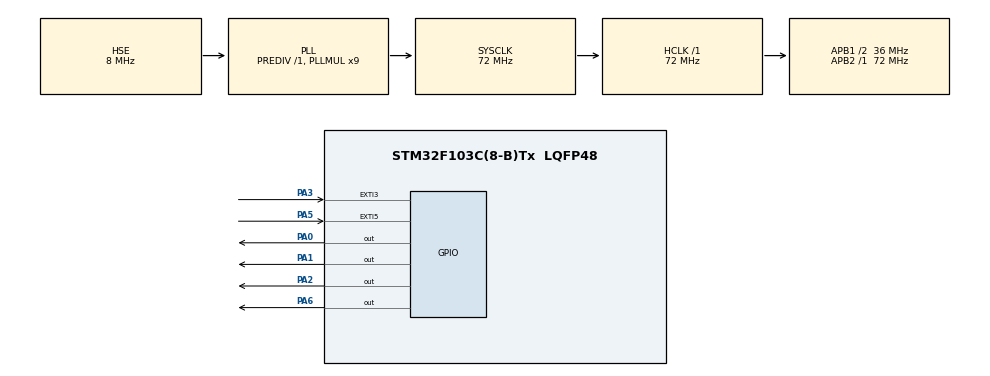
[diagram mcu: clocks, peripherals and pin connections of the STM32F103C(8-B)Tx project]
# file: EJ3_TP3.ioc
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Mcu.Family=STM32F1
Mcu.Name=STM32F103C(8-B)Tx
Mcu.Package=LQFP48
NVIC.EXTI3_IRQn=true\:0\:0\:false\:false\:true\:true\:true\:true
NVIC.EXTI9_5_IRQn=true\:0\:0\:false\:false\:true\:true\:true\:true
NVIC.PriorityGroup=NVIC_PRIORITYGROUP_4
NVIC.TIM1_UP_IRQn=true\:0\:0\:false\:false\:true\:true\:true\:true
PA0-WKUP.Signal=GPIO_Output
PA1.Signal=GPIO_Output
PA13.Mode=Serial_Wire
PA13.Signal=SYS_JTMS-SWDIO
PA14.Mode=Serial_Wire
PA14.Signal=SYS_JTCK-SWCLK
PA2.Signal=GPIO_Output
PA3.GPIO_ModeDefaultEXTI=GPIO_MODE_IT_FALLING
PA3.GPIO_PuPd=GPIO_PULLUP
PA3.Signal=GPXTI3
PA5.GPIO_ModeDefaultEXTI=GPIO_MODE_IT_FALLING
PA5.GPIO_PuPd=GPIO_PULLUP
PA5.Signal=GPXTI5
PA6.Signal=GPIO_Output
PD0-OSC_IN.Mode=HSE-External-Oscillator
PD0-OSC_IN.Signal=RCC_OSC_IN
PD1-OSC_OUT.Mode=HSE-External-Oscillator
PD1-OSC_OUT.Signal=RCC_OSC_OUT
ProjectManager.HeapSize=0x200
ProjectManager.StackSize=0x400
ProjectManager.TargetToolchain=STM32CubeIDE
RCC.AHBFreq_Value=72000000
RCC.APB1CLKDivider=RCC_HCLK_DIV2
RCC.APB1Freq_Value=36000000
RCC.APB1TimFreq_Value=72000000
RCC.APB2Freq_Value=72000000
RCC.APB2TimFreq_Value=72000000
RCC.HCLKFreq_Value=72000000
RCC.PLLMUL=RCC_PLL_MUL9
RCC.PLLSourceVirtual=RCC_PLLSOURCE_HSE
RCC.SYSCLKFreq_VALUE=72000000
RCC.SYSCLKSource=RCC_SYSCLKSOURCE_PLLCLK
RCC.USBFreq_Value=72000000
TIM1.Period=999
TIM1.Prescaler=7199
VP_TIM1_VS_ClockSourceINT.Mode=Internal
board=custom

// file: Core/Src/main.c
/* USER CODE BEGIN Header */
/**
  ******************************************************************************
  * @file           : main.c
  * @brief          : Main program body
  ******************************************************************************
  * @attention
  *
  * Copyright (c) 2026 STMicroelectronics.
  * All rights reserved.
  *
  * This software is licensed under terms that can be found in the LICENSE file
  * in the root directory of this software component.
  * If no LICENSE file comes with this software, it is provided AS-IS.
  *
  ******************************************************************************
  */
/* USER CODE END Header */
#include "main.h"

/* USER CODE BEGIN Includes */
#include "maquina.h"
/* USER CODE END Includes */

TIM_HandleTypeDef htim1;

void SystemClock_Config(void);
static void MX_GPIO_Init(void);
static void MX_TIM1_Init(void);

/* USER CODE BEGIN 0 */

uint8_t contador = 0;
volatile uint8_t flag_stop = 0;
volatile uint8_t flag_rotar = 0;
volatile uint8_t flag_comprar = 0;

uint32_t tick_anterior_3 = 0;
uint32_t tick_anterior_5 = 0;
uint32_t rebote = 150;

void HAL_TIM_PeriodElapsedCallback(TIM_HandleTypeDef *htim){
	if (htim->Instance == TIM1){
		if (contador < 40){
			switch(indice){
				case 1:
					HAL_GPIO_TogglePin(GPIOA, GPIO_PIN_0);
					break;
				case 2:
					HAL_GPIO_TogglePin(GPIOA, GPIO_PIN_1);
					break;
				case 3:
					HAL_GPIO_TogglePin(GPIOA, GPIO_PIN_2);
					break;
				case 4:
					HAL_GPIO_TogglePin(GPIOA, GPIO_PIN_6);
					break;
				default:
					break;
			}
			contador++;
		} else { contador = 0; flag_stop = 1;}
	}
}

void HAL_GPIO_EXTI_Callback(uint16_t GPIO_Pin){

	switch(GPIO_Pin){
		case GPIO_PIN_3:
			if(HAL_GetTick() - tick_anterior_3 >= rebote){
				tick_anterior_3 = HAL_GetTick();
				flag_comprar = 1;
			}
			break;
		case GPIO_PIN_5:
			if(HAL_GetTick() - tick_anterior_5 >= rebote){
				tick_anterior_5 = HAL_GetTick();
				flag_rotar = 1;
			}
			break;
		default:
			break;
	}

}

/* USER CODE END 0 */

int main(void)
{

  /* MCU Configuration--------------------------------------------------------*/

  /* Reset of all peripherals, Initializes the Flash interface and the Systick. */
  HAL_Init();

  /* Configure the system clock */
  SystemClock_Config();

  /* Initialize all configured peripherals */
  MX_GPIO_Init();
  MX_TIM1_Init();
  /* USER CODE BEGIN 2 */
  Estado_maquina estado_actual = iniciar_maquina();
  /* USER CODE END 2 */

  /* Infinite loop */
  while (1)
  {

    /* USER CODE BEGIN 3 */
	  if (flag_stop == 1){
		  HAL_GPIO_WritePin(GPIOA, GPIO_PIN_0|GPIO_PIN_1|GPIO_PIN_2|GPIO_PIN_6, GPIO_PIN_RESET);
		  estado_actual = MAQ_procesar_evento(estado_actual, EVENTO_FIN_EXP);
		  HAL_TIM_Base_Stop_IT(&htim1);
		  flag_stop = 0;
	  }

	  if (flag_start == 1){
		  HAL_TIM_Base_Start_IT(&htim1);
		  flag_start = 0;
	  }

	  if (flag_rotar == 1){
		  estado_actual = MAQ_procesar_evento(estado_actual, EVENTO_BOTON_ROTAR);
		  flag_rotar = 0;
	  }

	  if (flag_comprar == 1){
		  estado_actual = MAQ_procesar_evento(estado_actual, EVENTO_BOTON_SELEC);
		  flag_comprar = 0;
	  }
  }
  /* USER CODE END 3 */
}

void SystemClock_Config(void)
{
  RCC_OscInitTypeDef RCC_OscInitStruct = {0};
  RCC_ClkInitTypeDef RCC_ClkInitStruct = {0};

  /** Initializes the RCC Oscillators according to the specified parameters
  * in the RCC_OscInitTypeDef structure.
  */
  RCC_OscInitStruct.OscillatorType = RCC_OSCILLATORTYPE_HSE;
  RCC_OscInitStruct.HSEState = RCC_HSE_ON;
  RCC_OscInitStruct.HSEPredivValue = RCC_HSE_PREDIV_DIV1;
  RCC_OscInitStruct.HSIState = RCC_HSI_ON;
  RCC_OscInitStruct.PLL.PLLState = RCC_PLL_ON;
  RCC_OscInitStruct.PLL.PLLSource = RCC_PLLSOURCE_HSE;
  RCC_OscInitStruct.PLL.PLLMUL = RCC_PLL_MUL9;
  if (HAL_RCC_OscConfig(&RCC_OscInitStruct) != HAL_OK)
  {
    Error_Handler();
  }

  /** Initializes the CPU, AHB and APB buses clocks
  */
  RCC_ClkInitStruct.ClockType = RCC_CLOCKTYPE_HCLK|RCC_CLOCKTYPE_SYSCLK
                              |RCC_CLOCKTYPE_PCLK1|RCC_CLOCKTYPE_PCLK2;
  RCC_ClkInitStruct.SYSCLKSource = RCC_SYSCLKSOURCE_PLLCLK;
  RCC_ClkInitStruct.AHBCLKDivider = RCC_SYSCLK_DIV1;
  RCC_ClkInitStruct.APB1CLKDivider = RCC_HCLK_DIV2;
  RCC_ClkInitStruct.APB2CLKDivider = RCC_HCLK_DIV1;

  if (HAL_RCC_ClockConfig(&RCC_ClkInitStruct, FLASH_LATENCY_2) != HAL_OK)
  {
    Error_Handler();
  }
}

static void MX_TIM1_Init(void)
{

  TIM_ClockConfigTypeDef sClockSourceConfig = {0};
  TIM_MasterConfigTypeDef sMasterConfig = {0};

  htim1.Instance = TIM1;
  htim1.Init.Prescaler = 7199;
  htim1.Init.CounterMode = TIM_COUNTERMODE_UP;
  htim1.Init.Period = 999;
  htim1.Init.ClockDivision = TIM_CLOCKDIVISION_DIV1;
  htim1.Init.RepetitionCounter = 0;
  htim1.Init.AutoReloadPreload = TIM_AUTORELOAD_PRELOAD_DISABLE;
  if (HAL_TIM_Base_Init(&htim1) != HAL_OK)
  {
    Error_Handler();
  }
  sClockSourceConfig.ClockSource = TIM_CLOCKSOURCE_INTERNAL;
  if (HAL_TIM_ConfigClockSource(&htim1, &sClockSourceConfig) != HAL_OK)
  {
    Error_Handler();
  }
  sMasterConfig.MasterOutputTrigger = TIM_TRGO_RESET;
  sMasterConfig.MasterSlaveMode = TIM_MASTERSLAVEMODE_DISABLE;
  if (HAL_TIMEx_MasterConfigSynchronization(&htim1, &sMasterConfig) != HAL_OK)
  {
    Error_Handler();
  }

}

static void MX_GPIO_Init(void)
{
  GPIO_InitTypeDef GPIO_InitStruct = {0};

  /* GPIO Ports Clock Enable */
  __HAL_RCC_GPIOD_CLK_ENABLE();
  __HAL_RCC_GPIOA_CLK_ENABLE();

  /*Configure GPIO pin Output Level */
  HAL_GPIO_WritePin(GPIOA, GPIO_PIN_0|GPIO_PIN_1|GPIO_PIN_2|GPIO_PIN_6, GPIO_PIN_RESET);

  /*Configure GPIO pins : PA0 PA1 PA2 PA6 */
  GPIO_InitStruct.Pin = GPIO_PIN_0|GPIO_PIN_1|GPIO_PIN_2|GPIO_PIN_6;
  GPIO_InitStruct.Mode = GPIO_MODE_OUTPUT_PP;
  GPIO_InitStruct.Pull = GPIO_NOPULL;
  GPIO_InitStruct.Speed = GPIO_SPEED_FREQ_LOW;
  HAL_GPIO_Init(GPIOA, &GPIO_InitStruct);

  /*Configure GPIO pins : PA3 PA5 */
  GPIO_InitStruct.Pin = GPIO_PIN_3|GPIO_PIN_5;
  GPIO_InitStruct.Mode = GPIO_MODE_IT_FALLING;
  GPIO_InitStruct.Pull = GPIO_PULLUP;
  HAL_GPIO_Init(GPIOA, &GPIO_InitStruct);

  /* EXTI interrupt init*/
  HAL_NVIC_SetPriority(EXTI3_IRQn, 0, 0);
  HAL_NVIC_EnableIRQ(EXTI3_IRQn);

  HAL_NVIC_SetPriority(EXTI9_5_IRQn, 0, 0);
  HAL_NVIC_EnableIRQ(EXTI9_5_IRQn);

}

void Error_Handler(void)
{
  __disable_irq();
  while (1)
  {
  }
}
